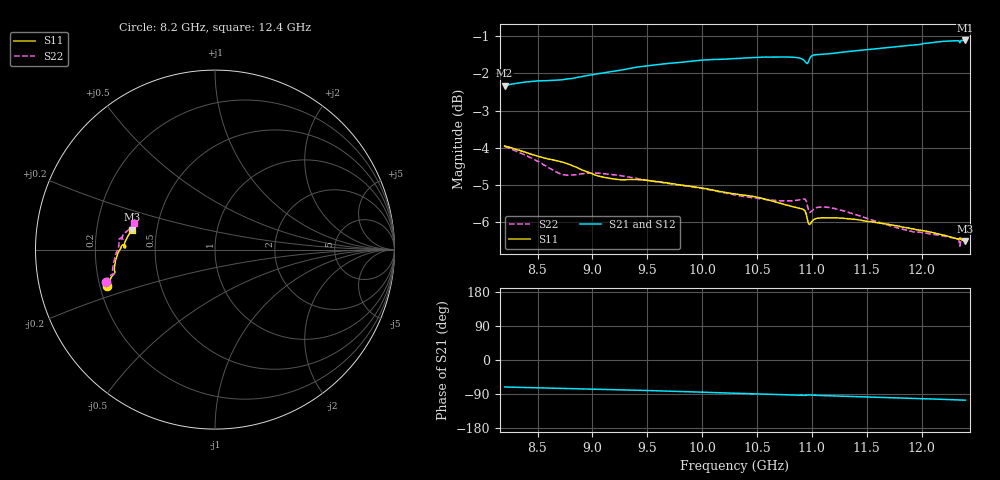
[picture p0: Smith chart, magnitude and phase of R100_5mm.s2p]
#  HZ  S  MA  R  50.00
! Rohde & Schwarz ZVA67 4Ports - Version 4.11 - 1305.7002k04 SN: 101051
! Date: 2023-04-26 10:44:08
! Measurements: S11 S21 S12 S22
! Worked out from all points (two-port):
!   421 points, 8.2 GHz to 12.4 GHz, reference 50 ohm
!   highest |S21| = -1.11 dB at 12.4 GHz (marker M1); lowest = -2.3 dB at 8.2 GHz (marker M2)
!   |S21| within 3 dB of the highest: start of sweep to end of sweep
!   lowest |S11| = -6.5 dB at 12.4 GHz (marker M3), VSWR 2.79, Z = 18.1 + j5.18 ohm
!   |S11| at or under -10 dB: nowhere
!   |S22| runs from -6.6 to -4.0 dB; largest |S21 - S12| = 0.0034
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8.2e9  0.6345 -161.5  0.765 -71.0  0.7657 -71.1  0.6333 -163.5
8.45e9  0.618 -162.7  0.7749 -73.1  0.7758 -73.3  0.6108 -165.4
8.61e9  0.6091 -163.6  0.7773 -74.3  0.7778 -74.4  0.5924 -166.4
8.75e9  0.6022 -164.7  0.7801 -75.0  0.7808 -75.1  0.5801 -166.4
8.9e9  0.5898 -165.9  0.7865 -75.9  0.7883 -75.8  0.5821 -166.6
9.21e9  0.5724 -166.9  0.8004 -78.0  0.802 -78.0  0.5801 -169.5
9.34e9  0.572 -167.7  0.8066 -79.0  0.8083 -79.0  0.5761 -170.7
9.6e9  0.5682 -170.3  0.8168 -81.4  0.8182 -81.5  0.5678 -172.9
1e10  0.5571 -173.8  0.8278 -85.0  0.829 -85.0  0.5565 -176.5
1.03e10  0.5471 -176.2  0.8319 -87.7  0.8332 -87.7  0.5453 -179.3
1.05e10  0.5417 -177.9  0.8349 -89.4  0.8364 -89.5  0.5397 179.1
1.082e10  0.526 179.4  0.8352 -92.3  0.8366 -92.3  0.5354 176.5
1.092e10  0.5217 178.0  0.8294 -93.2  0.8306 -93.3  0.5385 174.8
1.095e10  0.5133 177.0  0.8203 -93.0  0.8214 -93.1  0.5349 173.4
1.098e10  0.4975 178.3  0.8313 -92.1  0.8325 -92.2  0.5164 173.8
1.1e10  0.5021 179.0  0.8389 -92.6  0.8402 -92.7  0.519 174.4
1.107e10  0.5077 178.7  0.8425 -93.6  0.8436 -93.7  0.525 174.0
1.119e10  0.5078 178.0  0.8451 -94.7  0.8464 -94.7  0.5233 172.4
1.144e10  0.5045 175.8  0.8531 -96.9  0.8545 -97.0  0.5109 169.7
1.17e10  0.4978 173.4  0.8608 -99.2  0.8623 -99.3  0.4964 167.5
1.213e10  0.4843 169.2  0.8751 -103.2  0.8757 -103.3  0.4822 164.4
1.24e10  0.4729 166.4  0.8797 -106.0  0.88 -106.1  0.474 161.9
